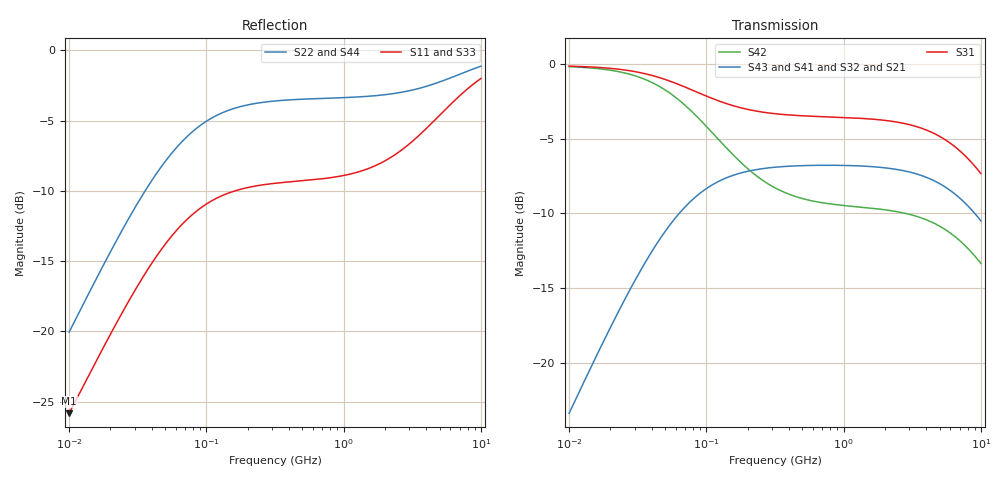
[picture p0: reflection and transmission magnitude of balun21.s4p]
! 4-Port simulation of a 2:1 balun
! Port 1: x1 input
! Port 2: x2 output
! Port 3: x1 input
! Port 4: x2 output
# HZ S RI R 50
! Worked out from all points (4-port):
!   226 points, 10 MHz to 10 GHz, reference 50 ohm
!   strongest paths, dB at 10 MHz, 55.8 MHz, 321.1 MHz, 1.792 GHz, 10 GHz:
!     S31: -0.1, -1.2, -3.3, -3.7, -7.3
!     S43: -23.4, -10.6, -6.9, -6.9, -10.5
!     S41: -23.4, -10.6, -6.9, -6.9, -10.5
!     S32: -23.4, -10.6, -6.9, -6.9, -10.5
!     S21: -23.4, -10.6, -6.9, -6.9, -10.5
!     S42: -0.2, -2.0, -8.3, -9.7, -13.3
!   lowest |S11| = -25.8 dB at 10 MHz (marker M1), VSWR 1.11, Z = 51.5 + j4.98 ohm
!   |S11| at or under -10 dB: start of sweep to 161.1 MHz
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1e7  0.0169 0.0482  -0.01 -0.067  -0.9831 0.0482  -0.01 -0.067
     -0.01 -0.067  0.0241 0.0964  -0.01 -0.067  -0.9759 0.0964
     -0.9831 0.0482  -0.01 -0.067  0.0169 0.0482  -0.01 -0.067
     -0.01 -0.067  -0.9759 0.0964  -0.01 -0.067  0.0241 0.0964
3.211195e7  0.0703 0.1295  -0.0859 -0.1789  -0.9297 0.1295  -0.0859 -0.1789
            -0.0859 -0.1789  0.1322 0.2583  -0.0859 -0.1789  -0.8678 0.2583
            -0.9297 0.1295  -0.0859 -0.1789  0.0703 0.1295  -0.0859 -0.1789
            -0.0859 -0.1789  -0.8678 0.2583  -0.0859 -0.1789  0.1322 0.2583
6.506289e7  0.1676 0.1687  -0.2243 -0.2292  -0.8324 0.1687  -0.2243 -0.2292
            -0.2243 -0.2292  0.329 0.3336  -0.2243 -0.2292  -0.671 0.3336
            -0.8324 0.1687  -0.2243 -0.2292  0.1676 0.1687  -0.2243 -0.2292
            -0.2243 -0.2292  -0.671 0.3336  -0.2243 -0.2292  0.329 0.3336
1.2784e8  0.266 0.1452  -0.3641 -0.1853  -0.734 0.1452  -0.3641 -0.1853
          -0.3641 -0.1853  0.5282 0.2786  -0.3641 -0.1853  -0.4718 0.2786
          -0.734 0.1452  -0.3641 -0.1853  0.266 0.1452  -0.3641 -0.1853
          -0.3641 -0.1853  -0.4718 0.2786  -0.3641 -0.1853  0.5282 0.2786
5.580417e8  0.3354 0.0825  -0.4571 -0.025  -0.6646 0.0825  -0.4571 -0.025
            -0.4571 -0.025  0.6645 0.1005  -0.4571 -0.025  -0.3355 0.1005
            -0.6646 0.0825  -0.4571 -0.025  0.3354 0.0825  -0.4571 -0.025
            -0.4571 -0.025  -0.3355 0.1005  -0.4571 -0.025  0.6645 0.1005
2.5902e9  0.3937 0.1938  -0.4257 0.1181  -0.6063 0.1938  -0.4257 0.1181
          -0.4257 0.1181  0.7001 0.1088  -0.4257 0.1181  -0.2999 0.1088
          -0.6063 0.1938  -0.4257 0.1181  0.3937 0.1938  -0.4257 0.1181
          -0.4257 0.1181  -0.2999 0.1088  -0.4257 0.1181  0.7001 0.1088
1e10  0.723 0.3291  -0.1947 0.2266  -0.277 0.3291  -0.1947 0.2266
      -0.1947 0.2266  0.8631 0.1659  -0.1947 0.2266  -0.1369 0.1659
      -0.277 0.3291  -0.1947 0.2266  0.723 0.3291  -0.1947 0.2266
      -0.1947 0.2266  -0.1369 0.1659  -0.1947 0.2266  0.8631 0.1659
